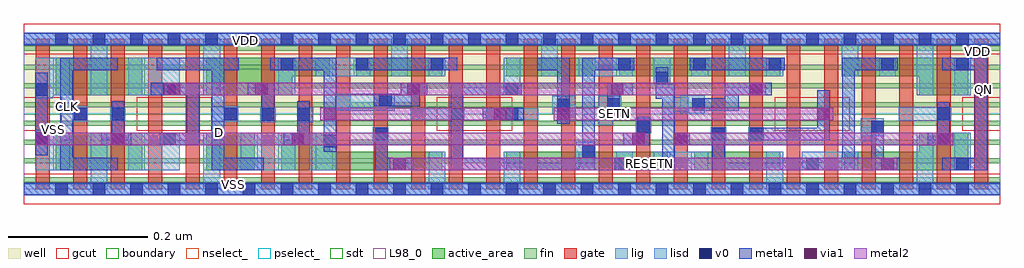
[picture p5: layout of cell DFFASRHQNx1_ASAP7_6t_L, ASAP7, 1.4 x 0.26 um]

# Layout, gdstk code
import gdstk
lib = gdstk.Library(unit=1e-6, precision=2.5e-10)
def R(c, l, rs):  # rectangles x0, y0, x1, y1
    for r in rs: c.add(gdstk.rectangle(r[:2], r[2:], *l))
def A(c, l, x, y, w, h, nx, ny, dx, dy):  # array of equal rectangles
    R(c, l, [(x+i*dx, y+j*dy, x+i*dx+w, y+j*dy+h) for i in range(nx) for j in range(ny)])
def P(c, l, *ps):  # polygons
    for p in ps: c.add(gdstk.Polygon(p, *l))
well = (1, 0)
fin = (2, 0)
gate = (7, 0)
gcut = (10, 0)
active_area = (11, 0)
nselect_ = (12, 0)
pselect_ = (13, 0)
lig = (16, 0)
lisd = (17, 0)
v0 = (18, 0)
metal1 = (19, 0)
metal2 = (20, 0)
via1 = (21, 0)
sdt = (88, 0)
L98_0 = (98, 0)
boundary = (100, 0)

dffasrhqnx1_asap7_6t_l = lib.new_cell('DFFASRHQNx1_ASAP7_6t_L')
R(dffasrhqnx1_asap7_6t_l, well, [(0,0.108,1.404,0.216)])
A(dffasrhqnx1_asap7_6t_l, fin, 0, 0.01, 1.404, 0.007, 1, 8, 0, 0.027)
A(dffasrhqnx1_asap7_6t_l, gate, 0.017, 0, 0.02, 0.216, 26, 1, 0.054, 0)
R(dffasrhqnx1_asap7_6t_l, gcut, [(0,-0.022,1.404,0.022), (0,0.084,0.054,0.132), (0.162,0.084,0.27,0.132), (0.594,0.084,0.702,0.132), (1.08,0.084,1.188,0.132), (1.35,0.084,1.404,0.132), (0,0.194,1.404,0.238)])
R(dffasrhqnx1_asap7_6t_l, active_area, [(0.046,0.027,0.17,0.081), (0.262,0.027,0.332,0.081), (0.694,0.027,0.926,0.054), (0.964,0.027,1.088,0.054), (0.046,0.135,0.17,0.189), (0.478,0.162,0.602,0.189), (0.694,0.162,0.818,0.189), (0.856,0.162,1.088,0.189)])
P(dffasrhqnx1_asap7_6t_l, active_area, [(1.358,0.189),(1.18,0.189),(1.18,0.162),(1.288,0.162),(1.288,0.135),(1.358,0.135)],
  [(1.358,0.081),(1.288,0.081),(1.288,0.054),(1.18,0.054),(1.18,0.027),(1.358,0.027)],
  [(0.602,0.054),(0.44,0.054),(0.44,0.081),(0.37,0.081),(0.37,0.027),(0.602,0.027)],
  [(0.44,0.189),(0.262,0.189),(0.262,0.135),(0.386,0.135),(0.386,0.162),(0.44,0.162)])
R(dffasrhqnx1_asap7_6t_l, nselect_, [(0,0,1.404,0.108)])
R(dffasrhqnx1_asap7_6t_l, pselect_, [(0,0.108,1.404,0.216)])
R(dffasrhqnx1_asap7_6t_l, lig, [(0,-0.008,1.404,0.008), (0.502,0.069,0.524,0.089), (0.988,0.069,1.01,0.089), (1.042,0.069,1.064,0.089), (1.204,0.069,1.226,0.089), (0.88,0.08,0.902,0.102), (0.826,0.092,0.848,0.118), (0.34,0.096,0.362,0.118), (0.393,0.096,0.416,0.118), (0.07,0.097,0.092,0.119), (0.27,0.097,0.308,0.119), (0.124,0.098,0.146,0.118), (0.772,0.098,0.794,0.121), (1.258,0.098,1.334,0.118), (0.556,0.1,0.633,0.116), (0.664,0.1,0.74,0.116), (0.934,0.111,0.956,0.132), (0.448,0.114,0.47,0.137), (0,0.208,1.404,0.224)])
R(dffasrhqnx1_asap7_6t_l, lisd, [(0.096,0,0.12,0.081), (0.258,0,0.282,0.081), (0.582,0,0.606,0.054), (0.69,0,0.714,0.054), (1.068,0,1.092,0.054), (1.284,0,1.308,0.081), (0.15,0.027,0.224,0.081), (0.312,0.027,0.39,0.081), (0.41,0.027,0.449,0.081), (0.793,0.027,0.822,0.068), (0.852,0.027,0.876,0.054), (0.906,0.027,0.984,0.054), (1.119,0.027,1.2,0.054), (1.338,0.027,1.362,0.081), (1.204,0.076,1.237,0.102), (0.76,0.108,0.794,0.134), (0.826,0.108,0.859,0.134), (0.944,0.109,0.979,0.135), (0.448,0.113,0.533,0.137), (0.096,0.135,0.12,0.216), (0.15,0.135,0.224,0.189), (0.258,0.135,0.282,0.216), (0.366,0.135,0.39,0.189), (0.69,0.135,0.714,0.189), (1.284,0.135,1.308,0.216), (1.338,0.135,1.362,0.189), (0.906,0.151,0.93,0.189), (0.42,0.162,0.498,0.189), (0.528,0.162,0.552,0.216), (0.582,0.162,0.606,0.189), (0.744,0.162,0.768,0.216), (0.798,0.162,0.876,0.189), (0.96,0.162,0.984,0.189), (1.014,0.162,1.038,0.216), (1.068,0.162,1.092,0.189), (1.176,0.162,1.2,0.216), (1.23,0.162,1.254,0.189)])
P(dffasrhqnx1_asap7_6t_l, lisd, [(0.066,0.189),(0.016,0.189),(0.016,0.131),(0.042,0.131),(0.042,0.135),(0.066,0.135)],
  [(0.066,0.081),(0.042,0.081),(0.042,0.085),(0.016,0.085),(0.016,0.027),(0.066,0.027)])
A(dffasrhqnx1_asap7_6t_l, v0, 0.045, -0.009, 0.018, 0.018, 25, 2, 0.054, 0.216)
A(dffasrhqnx1_asap7_6t_l, v0, 0.369, 0.171, 0.018, 0.018, 3, 1, 0.108, 0)
A(dffasrhqnx1_asap7_6t_l, v0, 0.855, 0.171, 0.018, 0.018, 3, 1, 0.108, 0)
R(dffasrhqnx1_asap7_6t_l, v0, [(0.855,0.027,0.873,0.045), (1.125,0.027,1.143,0.045), (1.341,0.027,1.359,0.045), (0.803,0.045,0.821,0.063), (0.431,0.06,0.449,0.078), (0.2,0.063,0.218,0.081), (0.016,0.064,0.034,0.082), (0.505,0.07,0.523,0.088), (0.99,0.07,1.008,0.088), (1.044,0.07,1.062,0.088), (1.219,0.08,1.237,0.098), (0.882,0.081,0.9,0.099), (0.342,0.098,0.36,0.116), (0.393,0.098,0.411,0.116), (0.072,0.099,0.09,0.117), (0.126,0.099,0.144,0.117), (0.288,0.099,0.306,0.117), (0.614,0.099,0.632,0.117), (0.693,0.099,0.711,0.117), (1.314,0.1,1.332,0.118), (0.767,0.112,0.785,0.13), (0.839,0.113,0.857,0.131), (0.961,0.113,0.979,0.131), (0.511,0.119,0.529,0.137), (0.016,0.134,0.034,0.152), (0.2,0.135,0.218,0.153), (0.693,0.135,0.711,0.153), (0.909,0.151,0.927,0.169), (1.233,0.171,1.251,0.189), (1.341,0.171,1.359,0.189)])
R(dffasrhqnx1_asap7_6t_l, metal1, [(0,-0.009,1.404,0.009), (0.016,0.049,0.034,0.167), (0.66,0.099,0.719,0.117), (0.477,0.171,0.623,0.189), (0.958,0.171,1.094,0.189), (0,0.207,1.404,0.225)])
P(dffasrhqnx1_asap7_6t_l, metal1, [(1.337,0.081),(1.332,0.081),(1.332,0.125),(1.314,0.125),(1.314,0.081),(1.3,0.081),(1.3,0.063),(1.337,0.063)],
  [(1.076,0.153),(1.008,0.153),(1.008,0.131),(0.961,0.131),(0.961,0.113),(1.028,0.113),(1.028,0.135),(1.076,0.135)],
  [(0.958,0.081),(0.936,0.081),(0.936,0.151),(0.927,0.151),(0.927,0.175),(0.909,0.175),(0.909,0.13),(0.918,0.13),(0.918,0.045),(0.85,0.045),(0.85,0.027),(0.936,0.027),(0.936,0.063),(0.958,0.063)],
  [(0.878,0.189),(0.803,0.189),(0.803,0.045),(0.632,0.045),(0.632,0.135),(0.716,0.135),(0.716,0.153),(0.614,0.153),(0.614,0.027),(0.821,0.027),(0.821,0.171),(0.878,0.171)],
  [(0.876,0.153),(0.839,0.153),(0.839,0.108),(0.857,0.108),(0.857,0.135),(0.876,0.135)],
  [(0.785,0.189),(0.738,0.189),(0.738,0.171),(0.767,0.171),(0.767,0.094),(0.785,0.094)],
  [(0.9,0.104),(0.882,0.104),(0.882,0.081),(0.862,0.081),(0.862,0.063),(0.9,0.063)],
  [(0.58,0.153),(0.542,0.153),(0.542,0.137),(0.503,0.137),(0.503,0.119),(0.569,0.119),(0.569,0.135),(0.58,0.135)],
  [(1.257,0.189),(1.177,0.189),(1.177,0.045),(1.008,0.045),(1.008,0.088),(0.99,0.088),(0.99,0.027),(1.195,0.027),(1.195,0.171),(1.257,0.171)],
  [(1.386,0.189),(1.321,0.189),(1.321,0.171),(1.368,0.171),(1.368,0.045),(1.321,0.045),(1.321,0.027),(1.386,0.027)],
  [(0.561,0.045),(0.523,0.045),(0.523,0.088),(0.505,0.088),(0.505,0.027),(0.561,0.027)],
  [(0.449,0.189),(0.354,0.189),(0.354,0.171),(0.431,0.171),(0.431,0.054),(0.449,0.054)],
  [(0.411,0.126),(0.393,0.126),(0.393,0.081),(0.374,0.081),(0.374,0.063),(0.411,0.063)],
  [(1.159,0.142),(1.141,0.142),(1.141,0.088),(1.044,0.088),(1.044,0.07),(1.159,0.07)],
  [(0.36,0.153),(0.322,0.153),(0.322,0.135),(0.342,0.135),(0.342,0.098),(0.36,0.098)],
  [(0.345,0.045),(0.288,0.045),(0.288,0.099),(0.306,0.099),(0.306,0.117),(0.288,0.117),(0.288,0.171),(0.309,0.171),(0.309,0.189),(0.191,0.189),(0.191,0.171),(0.27,0.171),(0.27,0.027),(0.345,0.027)],
  [(1.26,0.045),(1.237,0.045),(1.237,0.098),(1.219,0.098),(1.219,0.027),(1.26,0.027)],
  [(0.252,0.153),(0.182,0.153),(0.182,0.135),(0.234,0.135),(0.234,0.081),(0.195,0.081),(0.195,0.063),(0.252,0.063)],
  [(0.154,0.081),(0.144,0.081),(0.144,0.126),(0.126,0.126),(0.126,0.081),(0.111,0.081),(0.111,0.063),(0.154,0.063)],
  [(0.135,0.045),(0.07,0.045),(0.07,0.099),(0.09,0.099),(0.09,0.117),(0.07,0.117),(0.07,0.171),(0.135,0.171),(0.135,0.189),(0.052,0.189),(0.052,0.027),(0.135,0.027)])
R(dffasrhqnx1_asap7_6t_l, metal2, [(0.526,0.027,1.256,0.045), (0.016,0.063,0.893,0.081), (0.936,0.063,1.337,0.081), (0.426,0.099,0.704,0.117), (0.762,0.099,1.164,0.117), (0.202,0.135,1.067,0.153)])
R(dffasrhqnx1_asap7_6t_l, via1, [(0.531,0.027,0.549,0.045), (1.233,0.027,1.251,0.045), (0.016,0.063,0.034,0.081), (0.126,0.063,0.144,0.081), (0.385,0.063,0.403,0.081), (0.875,0.063,0.893,0.081), (0.936,0.063,0.954,0.081), (1.314,0.063,1.332,0.081), (0.431,0.099,0.449,0.117), (0.676,0.099,0.694,0.117), (0.767,0.099,0.785,0.117), (1.141,0.099,1.159,0.117), (0.207,0.135,0.225,0.153), (0.333,0.135,0.351,0.153), (0.551,0.135,0.569,0.153), (0.844,0.135,0.862,0.153), (1.044,0.135,1.062,0.153)])
A(dffasrhqnx1_asap7_6t_l, sdt, 0.042, 0.027, 0.024, 0.054, 3, 2, 0.054, 0.108)
A(dffasrhqnx1_asap7_6t_l, sdt, 0.258, 0.027, 0.024, 0.054, 4, 1, 0.054, 0)
A(dffasrhqnx1_asap7_6t_l, sdt, 0.582, 0.027, 0.024, 0.027, 3, 1, 0.108, 0)
A(dffasrhqnx1_asap7_6t_l, sdt, 0.852, 0.027, 0.024, 0.027, 3, 1, 0.054, 0)
A(dffasrhqnx1_asap7_6t_l, sdt, 0.42, 0.162, 0.024, 0.027, 4, 1, 0.054, 0)
A(dffasrhqnx1_asap7_6t_l, sdt, 0.69, 0.162, 0.024, 0.027, 8, 1, 0.054, 0)
R(dffasrhqnx1_asap7_6t_l, sdt, [(1.068,0.027,1.092,0.054), (1.176,0.027,1.2,0.054), (1.284,0.027,1.308,0.081), (1.338,0.027,1.362,0.081), (0.258,0.135,0.282,0.189), (0.366,0.135,0.39,0.189), (1.284,0.135,1.308,0.189), (1.338,0.135,1.362,0.189), (1.176,0.162,1.2,0.189), (1.23,0.162,1.254,0.189)])
R(dffasrhqnx1_asap7_6t_l, L98_0, [(0,0,1.404,0.216)])
R(dffasrhqnx1_asap7_6t_l, boundary, [(0,0,1.404,0.216)])
dffasrhqnx1_asap7_6t_l.add(gdstk.Label('VDD', (1.371,0.198), layer=1, texttype=251))
dffasrhqnx1_asap7_6t_l.add(gdstk.Label('VSS', (0.302,0.007), layer=19, texttype=251))
dffasrhqnx1_asap7_6t_l.add(gdstk.Label('VDD', (0.318,0.214), layer=19, texttype=251))
dffasrhqnx1_asap7_6t_l.add(gdstk.Label('QN', (1.38,0.143), layer=19, texttype=251))
dffasrhqnx1_asap7_6t_l.add(gdstk.Label('D', (0.281,0.082), layer=19, texttype=251))
dffasrhqnx1_asap7_6t_l.add(gdstk.Label('CLK', (0.063,0.119), layer=19, texttype=251))
dffasrhqnx1_asap7_6t_l.add(gdstk.Label('VSS', (0.043,0.085), layer=3, texttype=251))
dffasrhqnx1_asap7_6t_l.add(gdstk.Label('RESETN', (0.9,0.037), layer=20, texttype=251))
dffasrhqnx1_asap7_6t_l.add(gdstk.Label('SETN', (0.85,0.109), layer=20, texttype=251))

lib.write_gds('DFFASRHQNx1_ASAP7_6t_L.gds')
